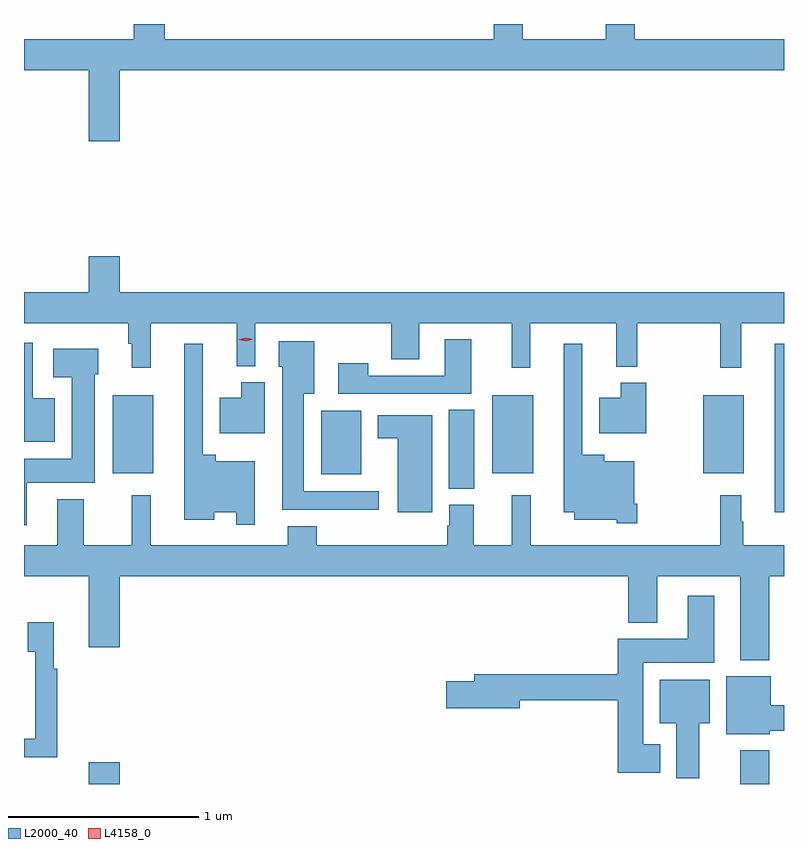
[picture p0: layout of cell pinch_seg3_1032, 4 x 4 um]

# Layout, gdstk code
import gdstk
lib = gdstk.Library(unit=1e-6, precision=1e-09)
def R(c, l, rs):  # rectangles x0, y0, x1, y1
    for r in rs: c.add(gdstk.rectangle(r[:2], r[2:], *l))
def P(c, l, *ps):  # polygons
    for p in ps: c.add(gdstk.Polygon(p, *l))
L2000_40 = (2000, 40)
L4158_0 = (4158, 0)

pinch_seg3_1032 = lib.new_cell('pinch_seg3_1032')
R(pinch_seg3_1032, L2000_40, [(512.66,670.519,512.824,670.633), (516.089,670.519,516.242,670.696), (516.272,671.948,516.32,672.835), (514.556,672.073,514.69,672.488), (513.884,672.149,514.096,672.484), (512.786,672.155,513.001,672.565), (514.784,672.155,514.999,672.565), (515.894,672.155,516.109,672.565)])
P(pinch_seg3_1032, L2000_40, [(512.824,674.276),(516.32,674.276),(516.32,674.44),(515.534,674.44),(515.534,674.519),(515.381,674.519),(515.381,674.44),(514.945,674.44),(514.945,674.519),(514.793,674.519),(514.793,674.44),(513.062,674.44),(513.062,674.519),(512.897,674.519),(512.897,674.44),(512.32,674.44),(512.32,674.276),(512.66,674.276),(512.66,673.902),(512.824,673.902)],
  [(512.987,672.944),(513.44,672.944),(513.44,672.719),(513.537,672.719),(513.537,672.944),(514.252,672.944),(514.252,672.754),(514.399,672.754),(514.399,672.944),(514.886,672.944),(514.886,672.711),(514.985,672.711),(514.985,672.944),(515.438,672.944),(515.438,672.716),(515.548,672.716),(515.548,672.944),(515.985,672.944),(515.985,672.711),(516.095,672.711),(516.095,672.944),(516.32,672.944),(516.32,673.108),(512.824,673.108),(512.824,673.297),(512.66,673.297),(512.66,673.108),(512.32,673.108),(512.32,672.944),(512.869,672.944),(512.869,672.836),(512.888,672.836),(512.888,672.711),(512.987,672.711)],
  [(514.675,672.859),(514.535,672.859),(514.535,672.669),(514.131,672.669),(514.131,672.733),(513.975,672.733),(513.975,672.573),(514.675,672.573)],
  [(514.186,672.06),(513.793,672.06),(513.793,672.572),(513.847,672.572),(513.847,672.85),(513.662,672.85),(513.662,672.714),(513.68,672.714),(513.68,671.963),(514.186,671.963)],
  [(512.482,672.55),(512.365,672.55),(512.365,672.841),(512.32,672.841),(512.32,672.32),(512.482,672.32)],
  [(513.534,672.217),(513.33,672.217),(513.33,672.253),(513.261,672.253),(513.261,672.835),(513.164,672.835),(513.164,671.909),(513.322,671.909),(513.322,671.948),(513.438,671.948),(513.438,671.883),(513.534,671.883)],
  [(515.547,671.995),(515.533,671.995),(515.533,672.217),(515.374,672.217),(515.374,672.253),(515.259,672.253),(515.259,672.835),(515.162,672.835),(515.162,671.948),(515.216,671.948),(515.216,671.909),(515.439,671.909),(515.439,671.891),(515.547,671.891)],
  [(512.335,672.104),(512.692,672.104),(512.692,672.675),(512.71,672.675),(512.71,672.811),(512.475,672.811),(512.475,672.659),(512.57,672.659),(512.57,672.232),(512.32,672.232),(512.32,671.88),(512.335,671.88)],
  [(513.586,672.634),(513.464,672.634),(513.464,672.553),(513.35,672.553),(513.35,672.365),(513.586,672.365)],
  [(515.596,672.631),(515.462,672.631),(515.462,672.553),(515.348,672.553),(515.348,672.365),(515.596,672.365)],
  [(514.468,672.46),(514.181,672.46),(514.181,672.338),(514.286,672.338),(514.286,671.948),(514.468,671.948)],
  [(516.242,671.612),(516.32,671.612),(516.32,671.776),(516.106,671.776),(516.106,671.9),(516.094,671.9),(516.094,672.04),(515.985,672.04),(515.985,671.776),(514.986,671.776),(514.986,672.04),(514.886,672.04),(514.886,671.776),(514.687,671.776),(514.687,671.988),(514.559,671.988),(514.559,671.877),(514.547,671.877),(514.547,671.776),(513.86,671.776),(513.86,671.875),(513.707,671.875),(513.707,671.776),(512.986,671.776),(512.986,672.04),(512.887,672.04),(512.887,671.776),(512.635,671.776),(512.635,672.019),(512.495,672.019),(512.495,671.776),(512.32,671.776),(512.32,671.612),(512.66,671.612),(512.66,671.238),(512.824,671.238),(512.824,671.612),(515.501,671.612),(515.501,671.369),(515.653,671.369),(515.653,671.612),(516.089,671.612),(516.089,671.171),(516.242,671.171)],
  [(515.668,670.729),(515.578,670.729),(515.578,671.156),(515.953,671.156),(515.953,671.509),(515.813,671.509),(515.813,671.284),(515.444,671.284),(515.444,671.096),(514.691,671.096),(514.691,671.06),(514.542,671.06),(514.542,670.918),(514.93,670.918),(514.93,670.96),(515.444,670.96),(515.444,670.577),(515.668,670.577)],
  [(512.495,671.126),(512.477,671.126),(512.477,671.371),(512.339,671.371),(512.339,671.215),(512.379,671.215),(512.379,670.758),(512.32,670.758),(512.32,670.661),(512.495,670.661)],
  [(516.246,670.799),(516.32,670.799),(516.32,670.934),(516.25,670.934),(516.25,671.086),(516.017,671.086),(516.017,670.781),(516.246,670.781)],
  [(515.875,670.838),(515.929,670.838),(515.929,671.068),(515.666,671.068),(515.666,670.838),(515.753,670.838),(515.753,670.548),(515.875,670.548)])
P(pinch_seg3_1032, L4158_0, [(513.489,672.849),(513.454,672.858),(513.454,672.859),(513.454,672.859),(513.489,672.869),(513.524,672.86),(513.525,672.86),(513.524,672.86)])

lib.write_gds('pinch_seg3_1032.gds')
